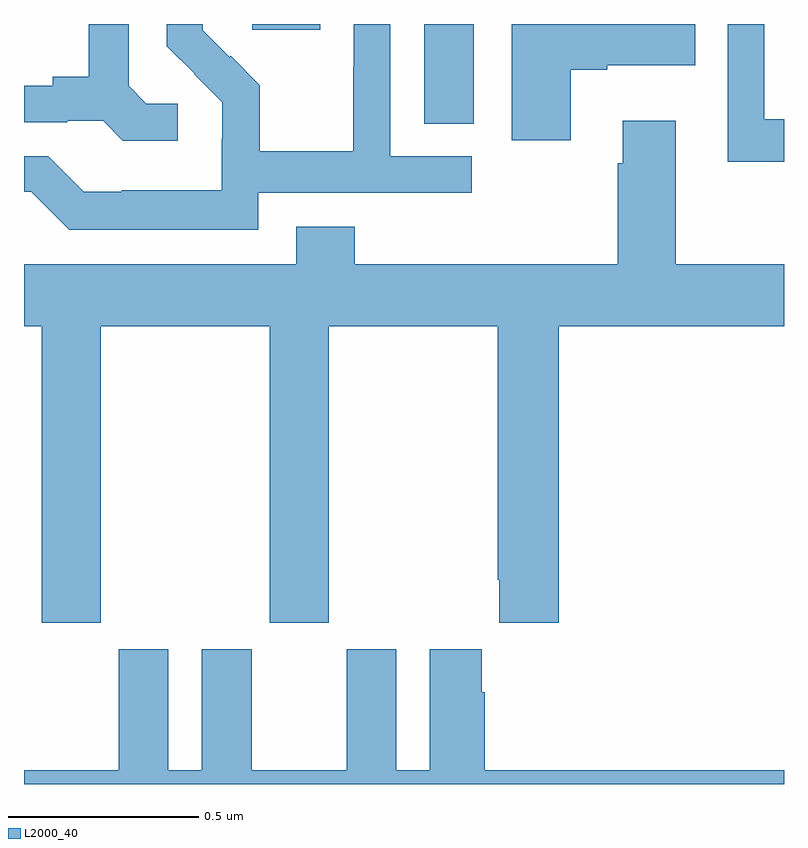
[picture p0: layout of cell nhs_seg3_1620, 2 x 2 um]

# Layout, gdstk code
import gdstk
lib = gdstk.Library(unit=1e-6, precision=1e-09)
def R(c, l, rs):  # rectangles x0, y0, x1, y1
    for r in rs: c.add(gdstk.rectangle(r[:2], r[2:], *l))
def P(c, l, *ps):  # polygons
    for p in ps: c.add(gdstk.Polygon(p, *l))
L2000_40 = (2000, 40)

nhs_seg3_1620 = lib.new_cell('nhs_seg3_1620')
R(nhs_seg3_1620, L2000_40, [(132.053,680.137,132.184,680.4), (131.6,680.385,131.779,680.4)])
P(nhs_seg3_1620, L2000_40, [(131.616,679.956),(132.178,679.956),(132.178,680.052),(131.964,680.052),(131.964,680.4),(131.868,680.4),(131.868,680.288),(131.866,680.288),(131.866,680.065),(131.621,680.065),(131.621,680.239),(131.544,680.316),(131.541,680.313),(131.471,680.384),(131.471,680.4),(131.376,680.4),(131.376,680.342),(131.449,680.269),(131.448,680.268),(131.522,680.194),(131.522,680.097),(131.52,680.097),(131.52,679.963),(131.257,679.963),(131.257,679.959),(131.157,679.959),(131.064,680.052),(131,680.052),(131,679.959),(131.019,679.959),(131.119,679.859),(131.616,679.859)],
  [(132.439,680.279),(132.535,680.279),(132.535,680.291),(132.766,680.291),(132.766,680.4),(132.284,680.4),(132.284,680.094),(132.439,680.094)],
  [(133,680.15),(132.948,680.15),(132.948,680.4),(132.852,680.4),(132.852,680.037),(133,680.037)],
  [(131.404,680.19),(131.322,680.19),(131.275,680.237),(131.275,680.4),(131.171,680.4),(131.171,680.261),(131.075,680.261),(131.075,680.238),(131,680.238),(131,680.142),(131.114,680.142),(131.114,680.145),(131.208,680.145),(131.26,680.093),(131.404,680.093)],
  [(131.202,679.604),(131.647,679.604),(131.647,678.825),(131.802,678.825),(131.802,679.604),(132.247,679.604),(132.247,678.937),(132.251,678.937),(132.251,678.825),(132.407,678.825),(132.407,679.604),(133,679.604),(133,679.768),(132.715,679.768),(132.715,680.146),(132.575,680.146),(132.575,680.033),(132.563,680.033),(132.563,679.768),(131.87,679.768),(131.87,679.867),(131.717,679.867),(131.717,679.768),(131,679.768),(131,679.604),(131.047,679.604),(131.047,678.825),(131.202,678.825)],
  [(133,678.436),(132.212,678.436),(132.212,678.641),(132.205,678.641),(132.205,678.754),(132.068,678.754),(132.068,678.436),(131.98,678.436),(131.98,678.754),(131.849,678.754),(131.849,678.436),(131.599,678.436),(131.599,678.754),(131.468,678.754),(131.468,678.436),(131.38,678.436),(131.38,678.754),(131.249,678.754),(131.249,678.436),(131,678.436),(131,678.4),(133,678.4)])

lib.write_gds('nhs_seg3_1620.gds')
